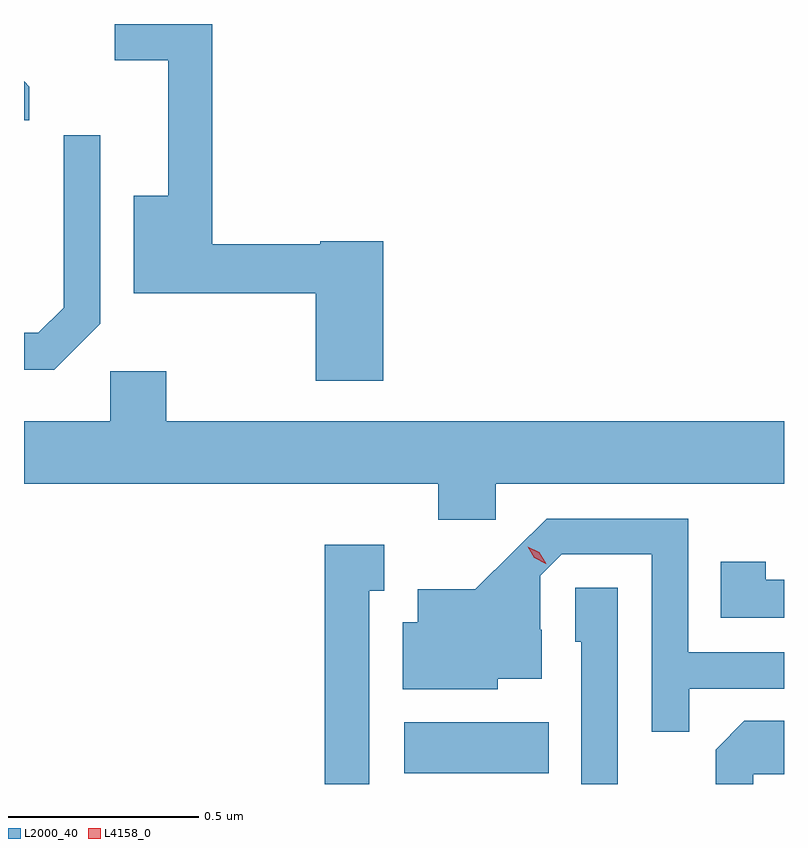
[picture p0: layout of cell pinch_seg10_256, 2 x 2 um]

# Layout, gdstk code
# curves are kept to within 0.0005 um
import gdstk
lib = gdstk.Library(unit=1e-6, precision=1e-09)
def R(c, l, rs):  # rectangles x0, y0, x1, y1
    for r in rs: c.add(gdstk.rectangle(r[:2], r[2:], *l))
def P(c, l, *ps):  # polygons
    for p in ps: c.add(gdstk.Polygon(p, *l))
L2000_40 = (2000, 40)
L4158_0 = (4158, 0)

pinch_seg10_256 = lib.new_cell('pinch_seg10_256')
R(pinch_seg10_256, L2000_40, [(593.808,1307.546,594.188,1307.68)])
P(pinch_seg10_256, L2000_40, [(593.753,1308.946),(593.586,1308.946),(593.586,1308.938),(593.303,1308.938),(593.303,1309.518),(593.046,1309.518),(593.046,1309.422),(593.186,1309.422),(593.186,1309.066),(593.096,1309.066),(593.096,1308.81),(593.575,1308.81),(593.575,1308.579),(593.753,1308.579)],
  [(592.821,1309.353),(592.807,1309.367),(592.807,1309.265),(592.821,1309.265)],
  [(593.007,1308.729),(593.007,1309.225),(592.911,1309.225),(592.911,1308.771),(592.845,1308.705),(592.807,1308.705),(592.807,1308.608),(592.886,1308.608)],
  [(594.048,1308.308),(594.807,1308.308),(594.807,1308.472),(593.181,1308.472),(593.181,1308.604),(593.034,1308.604),(593.034,1308.472),(592.807,1308.472),(592.807,1308.308),(593.897,1308.308),(593.897,1308.213),(594.048,1308.213)],
  [(594.557,1307.769),(594.807,1307.769),(594.807,1307.865),(594.555,1307.865),(594.555,1308.216),(594.182,1308.216),(593.995,1308.031),(593.843,1308.031),(593.843,1307.944),(593.804,1307.944),(593.804,1307.768),(594.054,1307.768),(594.054,1307.795),(594.169,1307.795),(594.169,1307.924),(594.165,1307.924),(594.165,1308.066),(594.222,1308.123),(594.459,1308.123),(594.459,1307.656),(594.557,1307.656)],
  [(593.716,1308.027),(593.755,1308.027),(593.755,1308.148),(593.598,1308.148),(593.598,1307.518),(593.716,1307.518)],
  [(594.807,1308.056),(594.759,1308.056),(594.759,1308.103),(594.64,1308.103),(594.64,1307.955),(594.807,1307.955)],
  [(594.369,1308.035),(594.258,1308.035),(594.258,1307.892),(594.273,1307.892),(594.273,1307.518),(594.369,1307.518)],
  [(594.726,1307.544),(594.807,1307.544),(594.807,1307.684),(594.703,1307.684),(594.627,1307.608),(594.627,1307.518),(594.726,1307.518)])
P(pinch_seg10_256, L4158_0, [(594.18,1308.098),(594.15,1308.113),(594.132,1308.143),(594.132,1308.143),(594.132,1308.143),(594.163,1308.128),(594.181,1308.098),(594.181,1308.098)])

lib.write_gds('pinch_seg10_256.gds')
